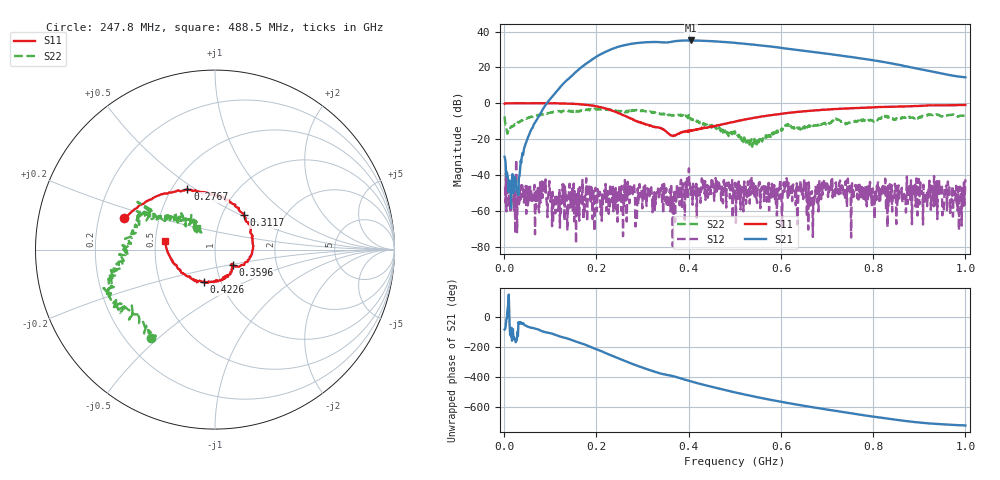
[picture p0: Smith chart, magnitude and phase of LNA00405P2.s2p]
! Created with skrf 1.9.0 (http://scikit-rf.org).
# Hz S RI R 50.0
!freq ReS11 ImS11 ReS21 ImS21 ReS12 ImS12 ReS22 ImS22
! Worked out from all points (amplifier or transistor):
!   1001 points, 1 MHz to 1 GHz, reference 50 ohm
!   highest |S21| = 35.1 dB at 404.6 MHz (marker M1)
!   |S21| within 3 dB of that: 255.3 MHz to 563.3 MHz (308 MHz wide, 75.3 % of centre)
!   unconditionally stable (mu >= 1): 235.8 MHz to 400.1 MHz; 401 MHz to 932 MHz; 932.1 MHz to end of sweep (the widest 3 of 44)
!   at 166.8 MHz: K = 1.86, MAG = 30.0 dB, |S12| = -50.8 dB
!   at 500.5 MHz: K = 1.60, MAG = 34.5 dB, |S12| = -44.4 dB
!   at 1 GHz: K = 1.70, MAG = 23.6 dB, |S12| = -42.5 dB
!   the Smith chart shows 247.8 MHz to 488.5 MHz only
!   S11 on the Smith chart (normalised r, x): 247.8 MHz: 0.31, +0.15; 276.7 MHz: 0.60, +0.47; 311.7 MHz: 1.27, +0.52; 359.6 MHz: 1.20, -0.21; 422.6 MHz: 0.83, -0.31; 488.5 MHz: 0.56, +0.06
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1000000  0.9737 -0.00608  0.00236 -0.0321  0.00344 0.00298  0.344 0.2556
1.08892e8  0.5284 -0.8472  -0.8623 -1.577  -0.00176 -0.000586  0.4347 -0.3839
1.67833e8  -0.2183 -0.9081  -10.24 -0.4221  0.00149 -0.000143  0.0439 -0.6311
2.11789e8  -0.6677 -0.3734  -15.4 18.8  -0.000497 0.00016  -0.2051 -0.6534
2.29771e8  -0.6451 -0.0722  -8.727 29.78  0.00337 -0.00441  -0.2682 -0.6001
2.47753e8  -0.5048 0.1764  4.342 37.56  -0.00227 -0.000462  -0.359 -0.4909
2.76724e8  -0.1539 0.3365  30.5 33.85  -0.00126 0.00445  -0.5563 -0.326
3.11689e8  0.1616 0.1923  49.68 8.733  -0.00362 0.00148  -0.5926 -0.1635
3.34666e8  0.2118 0.00397  49.79 -11.12  -0.0035 0.00109  -0.5269 -0.0273
3.59641e8  0.0996 -0.0865  44.17 -25.41  -0.00134 0.00378  -0.4705 0.0916
3.77623e8  0.0984 -0.1013  39.58 -38.46  -0.000587 0.00377  -0.4447 0.1819
4.04596e8  0.0255 -0.1702  20.58 -52.72  -0.00101 0.00258  -0.3309 0.1878
4.22578e8  -0.0636 -0.1795  6.339 -55.38  0.0016 0.00309  -0.2256 0.1748
4.53547e8  -0.1968 -0.1108  -16.14 -51.19  0.00459 0.000878  -0.154 0.1706
4.88512e8  -0.2807 0.0472  -34.3 -36.33  0.00165 0.00403  -0.1005 0.1194
5.005e8  -0.289 0.1101  -38.26 -30.26  -0.000866 0.00598  -0.0995 0.1302
5.39461e8  -0.2278 0.3157  -42.25 -9.45  0.00354 0.000418  -0.0914 -0.0111
5.88412e8  -0.0355 0.4835  -35.09 11.05  0.0023 0.000252  -0.1356 -0.0712
6.67333e8  0.3315 0.5236  -13.72 23.33  -0.00302 0.00181  -0.2405 -0.027
7.55245e8  0.6366 0.3523  3.79 18.85  0.003 0.000694  -0.2924 0.034
8.34166e8  0.7853 0.1287  9.659 9.216  -0.000784 0.00118  -0.4054 0.0428
1e9  0.8056 -0.4015  5.305 -0.0385  -0.00728 0.00185  -0.2719 0.3854
